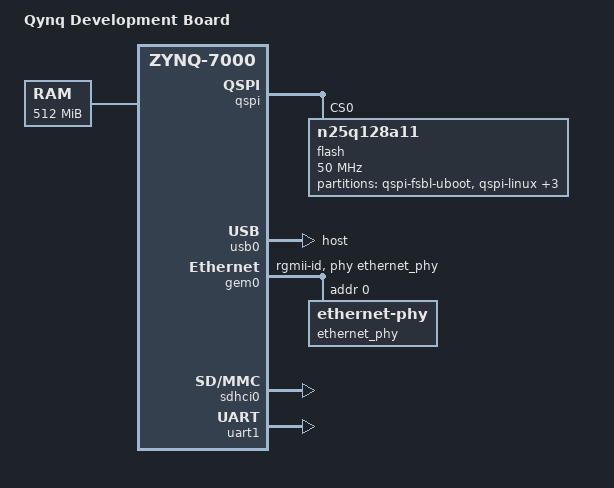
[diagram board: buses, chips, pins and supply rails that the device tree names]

/dts-v1/;
/include/ "zynq-7000.dtsi"

/ {
   model = "Qynq Development Board";
   compatible = "xlnx,zynq-7000";

   aliases {
      ethernet0 = &gem0;
      serial0 = &uart1;
      spi0 = &qspi;
   };

   memory {
      device_type = "memory";
      reg = <0x0 0x20000000>;
   };

   chosen {
      bootargs = "console=ttyPS0,115200 root=/dev/ram rw earlyprintk";
      linux,stdout-path = "/amba/serial@e0001000";
   };

   amba_pl {
      #address-cells = <0x1>;
      #size-cells = <0x1>;
      compatible = "simple-bus";
      ranges;

      axigpio0@41100000 {
            #gpio-cells = <2>;
            compatible = "xlnx,xps-gpio-1.00.a";
            gpio-controller ;
            reg = < 0x41100000 0x10000 >;
            xlnx,all-inputs = <0x0>;
            xlnx,all-inputs-2 = <0x0>;
            xlnx,all-outputs = <0x1>;
            xlnx,all-outputs-2 = <0x0>;
            xlnx,dout-default = <0x0>;
            xlnx,dout-default-2 = <0x0>;
            xlnx,gpio-width = <0x1>;
            xlnx,gpio2-width = <0x1>;
            xlnx,interrupt-present = <0x0>;
            xlnx,is-dual = <0x0>;
            xlnx,tri-default = <0xffffffff>;
            xlnx,tri-default-2 = <0xffffffff>;
      };
   };
};

&qspi {
   status = "okay";
   is-dual = <0>;
   num-cs = <1>;
   flash@0 {
      compatible = "n25q128a11";
      reg = <0x0>;
      spi-tx-bus-width = <1>;
      spi-rx-bus-width = <4>;
      spi-max-frequency = <50000000>;
      #address-cells = <1>;
      #size-cells = <1>;
      partition@qspi-fsbl-uboot {
         label = "qspi-fsbl-uboot";
         reg = <0x0 0x100000>;
      };
      partition@qspi-linux {
         label = "qspi-linux";
         reg = <0x100000 0x500000>;
      };
      partition@qspi-device-tree {
         label = "qspi-device-tree";
         reg = <0x600000 0x20000>;
      };
      partition@qspi-rootfs {
         label = "qspi-rootfs";
         reg = <0x620000 0x5E0000>;
      };
      partition@qspi-bitstream {
         label = "qspi-bitstream";
         reg = <0xC00000 0x400000>;
      };
   };
};

&usb0 {
   status = "okay";
   dr_mode = "host";
   phy_type = "ulpi";
};

&gem0 {
   status = "okay";
   phy-mode = "rgmii-id";
   phy-handle = <&ethernet_phy>;

   ethernet_phy: ethernet-phy@0 {
      reg = <0>;
   };
};

&sdhci0 {
   status = "okay";
};

&uart1 {
   status = "okay";
};
